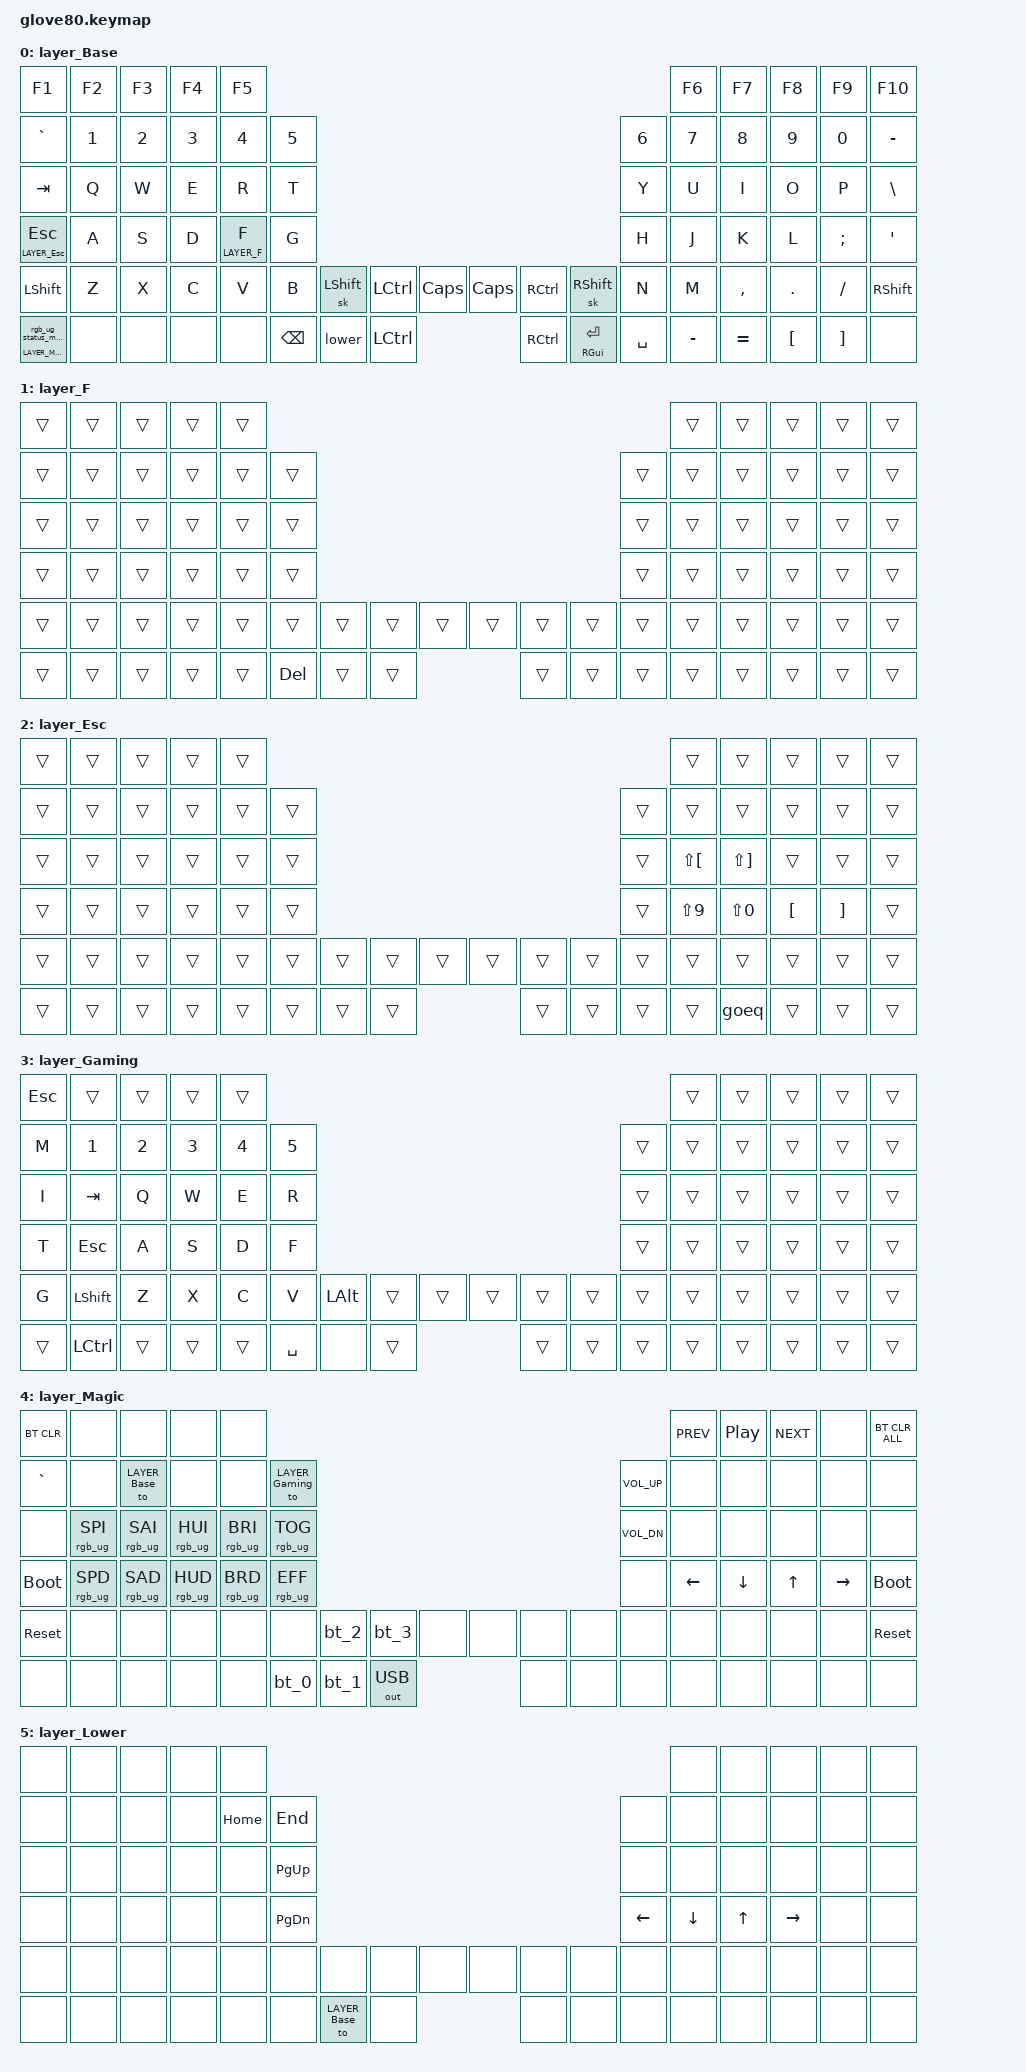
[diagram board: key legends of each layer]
/*
 * Copyright (c) 2020 The ZMK Contributors
 * Copyright (c) 2025 Innaworks Development Limited, trading as MoErgo
 *
 * SPDX-License-Identifier: MIT
 */


/* THIS FILE WAS GENERATED BY GLOVE80 LAYOUT EDITOR
 *
 * This file was generated automatically. You may or may not want to
 * edit it directly.
 */

#include <behaviors.dtsi>
/* Include all behavior includes needed */
#include <dt-bindings/zmk/outputs.h>
#include <dt-bindings/zmk/keys.h>
#include <dt-bindings/zmk/bt.h>
#include <dt-bindings/zmk/rgb.h>

/* On demand includes */


/* Helper Macros, based on https://github.com/urob/zmk-helpers/ */

#pragma once

#define ZMK_HELPER_STRINGIFY(x) #x

// Preprocessor mechanism to overload macros, cf. https://stackoverflow.com/a/27051616/6114651
#define VARGS_(_10, _9, _8, _7, _6, _5, _4, _3, _2, _1, N, ...) N
#define VARGS(...) VARGS_(__VA_ARGS__, 10, 9, 8, 7, 6, 5, 4, 3, 2, 1, 0)
#define CONCAT_(a, b) a##b
#define CONCAT(a, b) CONCAT_(a, b)

#define ZMK_BEHAVIOR_CORE_tap_dance  \
    compatible = "zmk,behavior-tap-dance"; \
    #binding-cells = <0>

#define ZMK_BEHAVIOR(name, type, ...) \
    name: name { \
        ZMK_BEHAVIOR_CORE_ ## type; \
        __VA_ARGS__ \
    };

#define ZMK_TAP_DANCE(name, ...) \
    ZMK_BEHAVIOR(name, tap_dance, __VA_ARGS__)

#define ZMK_TD_LAYER(name, layer) \
    ZMK_TAP_DANCE(name, \
        tapping-term-ms = <200>; \
        bindings = <&mo layer>, <&to layer>; \
)

/* Environment and metadata defines */
#define KB_TYPE_GLOVE_80 1
#define KB_TYPE_GO_60    2

#define KB_TYPE          KB_TYPE_GLOVE_80
#define EDITOR_HOST_OS   'L'

/* Automatically generated layer name defines */
#define LAYER_Base 0
#define LAYER_F 1
#define LAYER_Esc 2
#define LAYER_Gaming 3
#define LAYER_Magic 4
#define LAYER_Lower 5

/* To deal with the situation where there is no Lower layer, to keep &lower happy */
#ifndef LAYER_Lower
#define LAYER_Lower 0
#endif

/* Custom Device-tree */


/* Input Listeners */


/* System behavior and Macros */
/ {
    behaviors {
        ZMK_TD_LAYER(lower, LAYER_Lower)
    };
};

/ {
    macros {
        rgb_ug_status_macro: rgb_ug_status_macro {
            label = "RGB_UG_STATUS";
            compatible = "zmk,behavior-macro";
            #binding-cells = <0>;
            bindings
                = <&rgb_ug RGB_STATUS>;
        };
    };
};


/ {
#ifdef BT_DISC_CMD
    behaviors {
        bt_0: bt_0 {
            compatible = "zmk,behavior-tap-dance";
            label = "BT_0";
            #binding-cells = <0>;
            tapping-term-ms = <200>;
            bindings = <&bt_select_0>, <&bt BT_DISC 0>;
        };
        bt_1: bt_1 {
            compatible = "zmk,behavior-tap-dance";
            label = "BT_1";
            #binding-cells = <0>;
            tapping-term-ms = <200>;
            bindings = <&bt_select_1>, <&bt BT_DISC 1>;
        };
        bt_2: bt_2 {
            compatible = "zmk,behavior-tap-dance";
            label = "BT_2";
            #binding-cells = <0>;
            tapping-term-ms = <200>;
            bindings = <&bt_select_2>, <&bt BT_DISC 2>;
        };
        bt_3: bt_3 {
            compatible = "zmk,behavior-tap-dance";
            label = "BT_3";
            #binding-cells = <0>;
            tapping-term-ms = <200>;
            bindings = <&bt_select_3>, <&bt BT_DISC 3>;
        };
    };
    macros {
        bt_select_0: bt_select_0 {
            label = "BT_SELECT_0";
            compatible = "zmk,behavior-macro";
            #binding-cells = <0>;
            bindings
                = <&out OUT_BLE>,
                  <&bt BT_SEL 0>;
        };
        bt_select_1: bt_select_1 {
            label = "BT_SELECT_1";
            compatible = "zmk,behavior-macro";
            #binding-cells = <0>;
            bindings
                = <&out OUT_BLE>,
                  <&bt BT_SEL 1>;
        };
        bt_select_2: bt_select_2 {
            label = "BT_SELECT_2";
            compatible = "zmk,behavior-macro";
            #binding-cells = <0>;
            bindings
                = <&out OUT_BLE>,
                  <&bt BT_SEL 2>;
        };
        bt_select_3: bt_select_3 {
            label = "BT_SELECT_3";
            compatible = "zmk,behavior-macro";
            #binding-cells = <0>;
            bindings
                = <&out OUT_BLE>,
                  <&bt BT_SEL 3>;
        };
    };
#else
    macros {
        bt_0: bt_0 {
            label = "BT_0";
            compatible = "zmk,behavior-macro";
            #binding-cells = <0>;
            bindings
                = <&out OUT_BLE>,
                  <&bt BT_SEL 0>;
        };
        bt_1: bt_1 {
            label = "BT_1";
            compatible = "zmk,behavior-macro";
            #binding-cells = <0>;
            bindings
                = <&out OUT_BLE>,
                  <&bt BT_SEL 1>;
        };
        bt_2: bt_2 {
            label = "BT_2";
            compatible = "zmk,behavior-macro";
            #binding-cells = <0>;
            bindings
                = <&out OUT_BLE>,
                  <&bt BT_SEL 2>;
        };
        bt_3: bt_3 {
            label = "BT_3";
            compatible = "zmk,behavior-macro";
            #binding-cells = <0>;
            bindings
                = <&out OUT_BLE>,
                  <&bt BT_SEL 3>;
        };
    };
#endif
};

/ {
    behaviors {
        magic: magic {
            compatible = "zmk,behavior-hold-tap";
            label = "MAGIC_HOLD_TAP";
            #binding-cells = <2>;
            flavor = "tap-preferred";
            tapping-term-ms = <200>;
            bindings = <&mo>, <&rgb_ug_status_macro>;
        };
    };
};


/* Key positions */

#define POS_LH_C6R1 0
#define POS_LH_C5R1 1
#define POS_LH_C4R1 2
#define POS_LH_C3R1 3
#define POS_LH_C2R1 4
#define POS_RH_C2R1 5
#define POS_RH_C3R1 6
#define POS_RH_C4R1 7
#define POS_RH_C5R1 8
#define POS_RH_C6R1 9
#define POS_LH_C6R2 10
#define POS_LH_C5R2 11
#define POS_LH_C4R2 12
#define POS_LH_C3R2 13
#define POS_LH_C2R2 14
#define POS_LH_C1R2 15
#define POS_RH_C1R2 16
#define POS_RH_C2R2 17
#define POS_RH_C3R2 18
#define POS_RH_C4R2 19
#define POS_RH_C5R2 20
#define POS_RH_C6R2 21
#define POS_LH_C6R3 22
#define POS_LH_C5R3 23
#define POS_LH_C4R3 24
#define POS_LH_C3R3 25
#define POS_LH_C2R3 26
#define POS_LH_C1R3 27
#define POS_RH_C1R3 28
#define POS_RH_C2R3 29
#define POS_RH_C3R3 30
#define POS_RH_C4R3 31
#define POS_RH_C5R3 32
#define POS_RH_C6R3 33
#define POS_LH_C6R4 34
#define POS_LH_C5R4 35
#define POS_LH_C4R4 36
#define POS_LH_C3R4 37
#define POS_LH_C2R4 38
#define POS_LH_C1R4 39
#define POS_RH_C1R4 40
#define POS_RH_C2R4 41
#define POS_RH_C3R4 42
#define POS_RH_C4R4 43
#define POS_RH_C5R4 44
#define POS_RH_C6R4 45
#define POS_LH_C6R5 46
#define POS_LH_C5R5 47
#define POS_LH_C4R5 48
#define POS_LH_C3R5 49
#define POS_LH_C2R5 50
#define POS_LH_C1R5 51
#define POS_LH_T1 52
#define POS_LH_T2 53
#define POS_LH_T3 54
#define POS_RH_T3 55
#define POS_RH_T2 56
#define POS_RH_T1 57
#define POS_RH_C1R5 58
#define POS_RH_C2R5 59
#define POS_RH_C3R5 60
#define POS_RH_C4R5 61
#define POS_RH_C5R5 62
#define POS_RH_C6R5 63
#define POS_LH_C6R6 64
#define POS_LH_C5R6 65
#define POS_LH_C4R6 66
#define POS_LH_C3R6 67
#define POS_LH_C2R6 68
#define POS_LH_T4 69
#define POS_LH_T5 70
#define POS_LH_T6 71
#define POS_RH_T6 72
#define POS_RH_T5 73
#define POS_RH_T4 74
#define POS_RH_C2R6 75
#define POS_RH_C3R6 76
#define POS_RH_C4R6 77
#define POS_RH_C5R6 78
#define POS_RH_C6R6 79


/* Custom Defined Behaviors */
/ {

};

/* Generated input processors */


/* Automatically generated macro definitions */
/ {
    macros {

        goeq: goeq {
            label = "&GOEQ";
            compatible = "zmk,behavior-macro";
            #binding-cells = <0>;
            tap-ms = <0>;
            wait-ms = <0>;
            bindings = <&kp LS(SEMI)>
                , <&kp EQUAL>;
        };
    };
};

/* Automatically generated behavior definitions */
/ {
    behaviors {


    };
};

/* Automatically generated combos definitions */


/* Automatically generated keymap */
/ {
    keymap {
        compatible = "zmk,keymap";


        layer_Base {
            bindings = <
               &kp F1  &kp F2  &kp F3  &kp F4         &kp F5                                                                                          &kp F6     &kp F7    &kp F8    &kp F9    &kp F10
            &kp GRAVE  &kp N1  &kp N2  &kp N3         &kp N4  &kp N5                                                                       &kp N6     &kp N7     &kp N8    &kp N9    &kp N0  &kp MINUS
              &kp TAB   &kp Q   &kp W   &kp E          &kp R   &kp T                                                                        &kp Y      &kp U      &kp I     &kp O     &kp P   &kp BSLH
    &lt LAYER_Esc ESC   &kp A   &kp S   &kp D  &lt LAYER_F F   &kp G                                                                        &kp H      &kp J      &kp K     &kp L  &kp SEMI    &kp SQT
            &kp LSHFT   &kp Z   &kp X   &kp C          &kp V   &kp B  &sk LSHFT  &kp LCTRL   &kp CAPS   &kp CAPS     &kp RCTRL  &sk RSHFT   &kp N      &kp M  &kp COMMA   &kp DOT  &kp FSLH  &kp RSHFT
 &magic LAYER_Magic 0   &none   &none   &none          &none           &kp BSPC     &lower  &kp LCTRL  &kp RCTRL  &mt RGUI RET  &kp SPACE          &kp MINUS  &kp EQUAL  &kp LBKT  &kp RBKT      &none
            >;
        };

        layer_F {
            bindings = <
 &trans  &trans  &trans  &trans  &trans                                                                   &trans  &trans  &trans  &trans  &trans
 &trans  &trans  &trans  &trans  &trans  &trans                                                   &trans  &trans  &trans  &trans  &trans  &trans
 &trans  &trans  &trans  &trans  &trans  &trans                                                   &trans  &trans  &trans  &trans  &trans  &trans
 &trans  &trans  &trans  &trans  &trans  &trans                                                   &trans  &trans  &trans  &trans  &trans  &trans
 &trans  &trans  &trans  &trans  &trans  &trans   &trans  &trans  &trans  &trans  &trans  &trans  &trans  &trans  &trans  &trans  &trans  &trans
 &trans  &trans  &trans  &trans  &trans          &kp DEL  &trans  &trans  &trans  &trans  &trans          &trans  &trans  &trans  &trans  &trans
            >;
        };

        layer_Esc {
            bindings = <
 &trans  &trans  &trans  &trans  &trans                                                                        &trans        &trans    &trans    &trans  &trans
 &trans  &trans  &trans  &trans  &trans  &trans                                                  &trans        &trans        &trans    &trans    &trans  &trans
 &trans  &trans  &trans  &trans  &trans  &trans                                                  &trans  &kp LS(LBKT)  &kp LS(RBKT)    &trans    &trans  &trans
 &trans  &trans  &trans  &trans  &trans  &trans                                                  &trans    &kp LS(N9)    &kp LS(N0)  &kp LBKT  &kp RBKT  &trans
 &trans  &trans  &trans  &trans  &trans  &trans  &trans  &trans  &trans  &trans  &trans  &trans  &trans        &trans        &trans    &trans    &trans  &trans
 &trans  &trans  &trans  &trans  &trans          &trans  &trans  &trans  &trans  &trans  &trans                &trans         &goeq    &trans    &trans  &trans
            >;
        };

        layer_Gaming {
            bindings = <
 &kp ESC     &trans  &trans  &trans  &trans                                                                     &trans  &trans  &trans  &trans  &trans
   &kp M     &kp N1  &kp N2  &kp N3  &kp N4  &kp N5                                                     &trans  &trans  &trans  &trans  &trans  &trans
   &kp I    &kp TAB   &kp Q   &kp W   &kp E   &kp R                                                     &trans  &trans  &trans  &trans  &trans  &trans
   &kp T    &kp ESC   &kp A   &kp S   &kp D   &kp F                                                     &trans  &trans  &trans  &trans  &trans  &trans
   &kp G  &kp LSHFT   &kp Z   &kp X   &kp C   &kp V   &kp LALT  &trans  &trans  &trans  &trans  &trans  &trans  &trans  &trans  &trans  &trans  &trans
  &trans  &kp LCTRL  &trans  &trans  &trans          &kp SPACE   &none  &trans  &trans  &trans  &trans          &trans  &trans  &trans  &trans  &trans
            >;
        };

        layer_Magic {
            bindings = <
  &bt BT_CLR            &none            &none            &none            &none                                                                                        &kp C_PREV  &kp C_PP  &kp C_NEXT      &none  &bt BT_CLR_ALL
   &kp GRAVE            &none   &to LAYER_Base            &none            &none  &to LAYER_Gaming                                                        &kp C_VOL_UP       &none     &none       &none      &none           &none
       &none  &rgb_ug RGB_SPI  &rgb_ug RGB_SAI  &rgb_ug RGB_HUI  &rgb_ug RGB_BRI   &rgb_ug RGB_TOG                                                        &kp C_VOL_DN       &none     &none       &none      &none           &none
 &bootloader  &rgb_ug RGB_SPD  &rgb_ug RGB_SAD  &rgb_ug RGB_HUD  &rgb_ug RGB_BRD   &rgb_ug RGB_EFF                                                               &none    &kp LEFT  &kp DOWN      &kp UP  &kp RIGHT     &bootloader
  &sys_reset            &none            &none            &none            &none             &none   &bt_2   &bt_3         &none   &none   &none   &none         &none       &none     &none       &none      &none      &sys_reset
       &none            &none            &none            &none            &none                     &bt_0   &bt_1  &out OUT_USB   &none   &none   &none                     &none     &none       &none      &none           &none
            >;
        };

        layer_Lower {
            bindings = <
  &none   &none   &none   &none     &none                                                                                  &none   &none      &none   &none   &none
  &none   &none   &none   &none  &kp HOME    &kp END                                                             &none     &none   &none      &none   &none   &none
  &none   &none   &none   &none     &none  &kp PG_UP                                                             &none     &none   &none      &none   &none   &none
  &none   &none   &none   &none     &none  &kp PG_DN                                                          &kp LEFT  &kp DOWN  &kp UP  &kp RIGHT   &none   &none
  &none   &none   &none   &none     &none      &none   &none           &none   &none   &none   &none   &none     &none     &none   &none      &none   &none   &none
  &none   &none   &none   &none     &none              &none  &to LAYER_Base   &none   &none   &none   &none               &none   &none      &none   &none   &none
            >;
        };

    };
};
